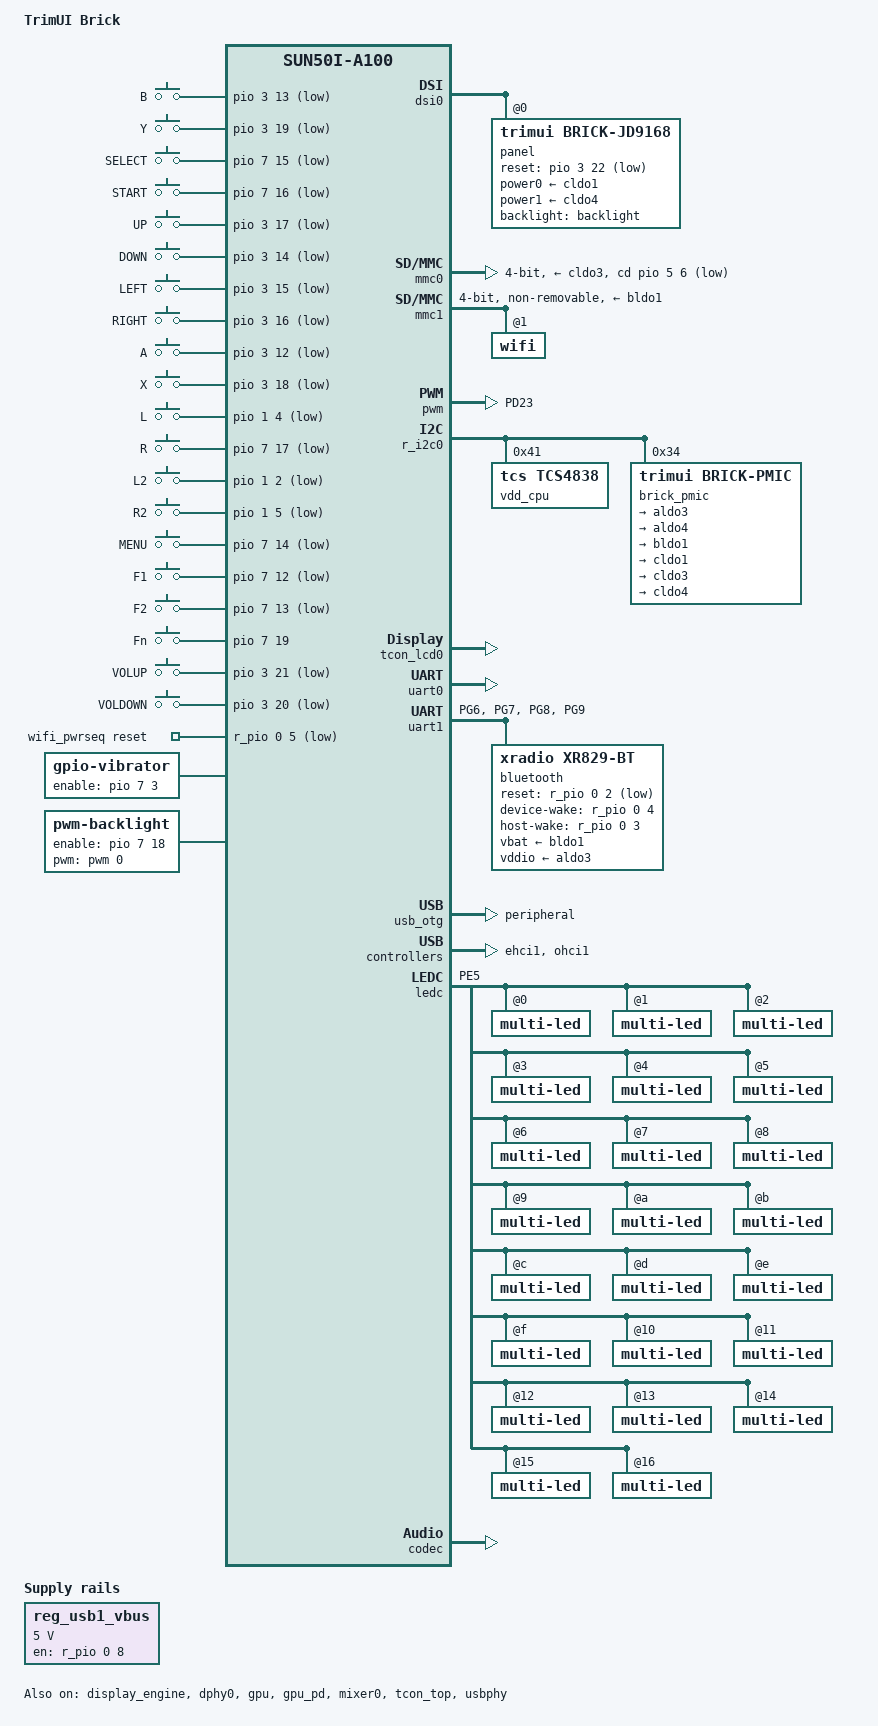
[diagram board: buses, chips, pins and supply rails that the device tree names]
// SPDX-License-Identifier: (GPL-2.0+ OR MIT)
/dts-v1/;
#include "sun50i-a133.dtsi"
#include "sun50i-a133-c0-cpu-opp.dtsi"
#include <dt-bindings/gpio/gpio.h>
#include <dt-bindings/input/input.h>
#include <dt-bindings/leds/common.h>
#include <dt-bindings/thermal/thermal.h>

/ {
	model = "TrimUI Brick";
	compatible = "trimui,brick", "allwinner,sun50i-a133", "allwinner,sun50i-a100";

	aliases {
		ethernet0 = &wifi;
		serial0 = &uart0;
		serial1 = &uart1;
		mmc0 = &mmc0;
		mmc1 = &mmc1;
	};

	chosen {
		stdout-path = "serial0:115200n8";
	};

	reg_usb1_vbus: regulator-usb1-vbus {
		compatible = "regulator-fixed";
		regulator-name = "usb1-vbus";
		regulator-min-microvolt = <5000000>;
		regulator-max-microvolt = <5000000>;
		gpio = <&r_pio 0 8 GPIO_ACTIVE_HIGH>; /* PL8 */
		enable-active-high;
		startup-delay-us = <1000>;
	};

	gamepad {
		compatible = "gpio-keys";
		label = "TrimUI Brick Gamepad";

		button-b {
			label = "B";
			linux,code = <BTN_SOUTH>;
			gpios = <&pio 3 13 (GPIO_ACTIVE_LOW | GPIO_PULL_UP)>;
		};

		button-y {
			label = "Y";
			linux,code = <BTN_WEST>;
			gpios = <&pio 3 19 (GPIO_ACTIVE_LOW | GPIO_PULL_UP)>;
		};

		button-select {
			label = "SELECT";
			linux,code = <BTN_SELECT>;
			gpios = <&pio 7 15 (GPIO_ACTIVE_LOW | GPIO_PULL_UP)>;
		};

		button-start {
			label = "START";
			linux,code = <BTN_START>;
			gpios = <&pio 7 16 (GPIO_ACTIVE_LOW | GPIO_PULL_UP)>;
		};

		button-up {
			label = "UP";
			linux,code = <BTN_DPAD_UP>;
			gpios = <&pio 3 17 (GPIO_ACTIVE_LOW | GPIO_PULL_UP)>;
		};

		button-down {
			label = "DOWN";
			linux,code = <BTN_DPAD_DOWN>;
			gpios = <&pio 3 14 (GPIO_ACTIVE_LOW | GPIO_PULL_UP)>;
		};

		button-left {
			label = "LEFT";
			linux,code = <BTN_DPAD_LEFT>;
			gpios = <&pio 3 15 (GPIO_ACTIVE_LOW | GPIO_PULL_UP)>;
		};

		button-right {
			label = "RIGHT";
			linux,code = <BTN_DPAD_RIGHT>;
			gpios = <&pio 3 16 (GPIO_ACTIVE_LOW | GPIO_PULL_UP)>;
		};

		button-a {
			label = "A";
			linux,code = <BTN_EAST>;
			gpios = <&pio 3 12 (GPIO_ACTIVE_LOW | GPIO_PULL_UP)>;
		};

		button-x {
			label = "X";
			linux,code = <BTN_NORTH>;
			gpios = <&pio 3 18 (GPIO_ACTIVE_LOW | GPIO_PULL_UP)>;
		};

		button-l {
			label = "L";
			linux,code = <BTN_TL>;
			gpios = <&pio 1 4 (GPIO_ACTIVE_LOW | GPIO_PULL_UP)>;
		};

		button-r {
			label = "R";
			linux,code = <BTN_TR>;
			gpios = <&pio 7 17 (GPIO_ACTIVE_LOW | GPIO_PULL_UP)>;
		};

		button-l2 {
			label = "L2";
			linux,code = <BTN_TL2>;
			gpios = <&pio 1 2 (GPIO_ACTIVE_LOW | GPIO_PULL_UP)>;
		};

		button-r2 {
			label = "R2";
			linux,code = <BTN_TR2>;
			gpios = <&pio 1 5 (GPIO_ACTIVE_LOW | GPIO_PULL_UP)>;
		};

		button-menu {
			label = "MENU";
			linux,code = <BTN_MODE>;
			gpios = <&pio 7 14 (GPIO_ACTIVE_LOW | GPIO_PULL_UP)>;
		};

		button-f1 {
			label = "F1";
			linux,code = <BTN_TRIGGER_HAPPY1>;
			gpios = <&pio 7 12 (GPIO_ACTIVE_LOW | GPIO_PULL_UP)>;
		};

		button-f2 {
			label = "F2";
			linux,code = <BTN_TRIGGER_HAPPY2>;
			gpios = <&pio 7 13 (GPIO_ACTIVE_LOW | GPIO_PULL_UP)>;
		};
	};

	fn-switch {
		compatible = "gpio-keys";
		label = "TrimUI Brick Fn";
		pinctrl-names = "default";
		pinctrl-0 = <&fn_switch_pin>;

		button-fn {
			label = "Fn";
			linux,code = <KEY_FN>;
			gpios = <&pio 7 19 GPIO_ACTIVE_HIGH>;
			debounce-interval = <5>;
		};
	};

	volume-keys {
		compatible = "gpio-keys";
		autorepeat;
		label = "TrimUI Brick Volume";

		button-volup {
			label = "VOLUP";
			linux,code = <KEY_VOLUMEUP>;
			gpios = <&pio 3 21 (GPIO_ACTIVE_LOW | GPIO_PULL_UP)>;
		};

		button-voldown {
			label = "VOLDOWN";
			linux,code = <KEY_VOLUMEDOWN>;
			gpios = <&pio 3 20 (GPIO_ACTIVE_LOW | GPIO_PULL_UP)>;
		};
	};

	wifi_pwrseq: wifi-pwrseq {
		compatible = "trimui,brick-radio-pwrseq";
		clocks = <&rtc 0>, <&rtc 1>;
		clock-names = "lpo", "ref";
		reset-gpios = <&r_pio 0 5 GPIO_ACTIVE_LOW>;
	};

	vibrator {
		compatible = "gpio-vibrator";
		enable-gpios = <&pio 7 3 GPIO_ACTIVE_HIGH>;
	};

	backlight: backlight {
		compatible = "pwm-backlight";
		pwms = <&pwm 0 20000 0>;
		enable-gpios = <&pio 7 18 GPIO_ACTIVE_HIGH>;
		/* Stock raw brightness: nonzero values use (value + 1) / 256. */
		brightness-levels = <
			0 2 3 4 5 6 7 8 9 10 11 12 13 14 15 16
			17 18 19 20 21 22 23 24 25 26 27 28 29 30 31 32
			33 34 35 36 37 38 39 40 41 42 43 44 45 46 47 48
			49 50 51 52 53 54 55 56 57 58 59 60 61 62 63 64
			65 66 67 68 69 70 71 72 73 74 75 76 77 78 79 80
			81 82 83 84 85 86 87 88 89 90 91 92 93 94 95 96
			97 98 99 100 101 102 103 104 105 106 107 108 109 110 111 112
			113 114 115 116 117 118 119 120 121 122 123 124 125 126 127 128
			129 130 131 132 133 134 135 136 137 138 139 140 141 142 143 144
			145 146 147 148 149 150 151 152 153 154 155 156 157 158 159 160
			161 162 163 164 165 166 167 168 169 170 171 172 173 174 175 176
			177 178 179 180 181 182 183 184 185 186 187 188 189 190 191 192
			193 194 195 196 197 198 199 200 201 202 203 204 205 206 207 208
			209 210 211 212 213 214 215 216 217 218 219 220 221 222 223 224
			225 226 227 228 229 230 231 232 233 234 235 236 237 238 239 240
			241 242 243 244 245 246 247 248 249 250 251 252 253 254 255 255
			256
		>;
		max-brightness = <255>;
		default-brightness-level = <4>;
	};


};

&display_engine {
	status = "okay";
};

&dphy0 {
	assigned-clocks = <&ccu CLK_MIPI_DSI>;
	assigned-clock-parents = <&ccu CLK_PLL_PERIPH0>;
	assigned-clock-rates = <150000000>;
	status = "okay";
};

&dsi0 {
	/* Analogue supply remains boot-established; its physical rail is unknown. */
	status = "okay";

	panel@0 {
		compatible = "trimui,brick-jd9168";
		reg = <0>;
		dsi-lanes = <4>;
		reset-gpios = <&pio 3 22 GPIO_ACTIVE_LOW>;
		backlight = <&backlight>;
		power0-supply = <&cldo1>;
		power1-supply = <&cldo4>;
		pinctrl-names = "active", "sleep";
		pinctrl-0 = <&dsi_active_pins>;
		pinctrl-1 = <&dsi_sleep_pins>;

		display-timings {
			native-mode = <&panel_timing>;
			panel_timing: timing0 {
				clock-frequency = <51000000>;
				hactive = <1024>;
				vactive = <768>;
				hfront-porch = <36>;
				hback-porch = <16>;
				hsync-len = <4>;
				vfront-porch = <7>;
				vback-porch = <5>;
				vsync-len = <4>;
			};
		};
	};
};

&gpu {
	status = "okay";
};

&gpu_pd {
	status = "okay";
};

&mixer0 {
	assigned-clocks = <&ccu CLK_DE>;
	assigned-clock-parents = <&ccu CLK_PLL_PERIPH0_2X>;
	assigned-clock-rates = <300000000>;
	status = "okay";
};

&mmc0 {
	compatible = "allwinner,sun50i-a133-mmc";
	vmmc-supply = <&cldo3>;
	vqmmc-supply = <&pf_vqmmc>;
	bus-width = <4>;
	cd-gpios = <&pio 5 6 (GPIO_ACTIVE_LOW | GPIO_PULL_UP)>;
	cd-debounce-delay-ms = <200>;
	no-mmc;
	no-sdio;
	max-frequency = <150000000>;
	sd-uhs-sdr50;
	sd-uhs-ddr50;
	sd-uhs-sdr104;
	status = "okay";
};

&mmc1 {
	vmmc-supply = <&bldo1>;
	vqmmc-supply = <&aldo3>;
	mmc-pwrseq = <&wifi_pwrseq>;
	bus-width = <4>;
	non-removable;
	cap-sdio-irq;
	no-mmc;
	no-sd;
	no-1-8-v;
	max-frequency = <50000000>;
	status = "okay";

	wifi: wifi@1 {
		reg = <1>;
	};
};

/* Internal storage wiring; enable after board qualification. */
&mmc2 {
	vmmc-supply = <&cldo3>;
	vqmmc-supply = <&cldo1>;
	pinctrl-0 = <&brick_emmc_pins &brick_emmc_ds_pin>;
	bus-width = <8>;
	max-frequency = <50000000>;
	cap-mmc-highspeed;
	mmc-ddr-1_8v;
	non-removable;
	no-sd;
	no-sdio;
	status = "disabled";
};

&pio {
	vcc-pc-supply = <&cldo1>;

	brick_emmc_pins: emmc-pins {
		pins = "PC1", "PC5", "PC6", "PC8", "PC9", "PC10",
		       "PC11", "PC13", "PC14", "PC15", "PC16";
		function = "mmc2";
		drive-strength = <40>;
		bias-pull-up;
	};

	brick_emmc_ds_pin: emmc-ds-pin {
		pins = "PC0";
		function = "mmc2";
		drive-strength = <40>;
		bias-pull-down;
	};
};

/* Match the shipped Brick MMC bank drive setting (raw value 3). */
&mmc0_pins {
	drive-strength = <40>;
};

&mmc1_pins {
	drive-strength = <40>;
};

&pio {
	vcc-pg-supply = <&aldo3>;
	compatible = "allwinner,sun50i-a133-pinctrl";
	vcc-pf18-supply = <&cldo1>;
	vcc-pf33-supply = <&cldo3>;

	pf_vqmmc: pf-regulator {
		regulator-name = "brick-pf-vqmmc";
		regulator-min-microvolt = <1800000>;
		regulator-max-microvolt = <3300000>;
	};


	brick_bt_uart_pins: uart1-pg-pins {
		pins = "PG6", "PG7", "PG8", "PG9";
		function = "uart1";
	};

	ledc_pin: ledc-pin {
		pins = "PE5";
		function = "ledc";
	};



	dsi_active_pins: dsi-active-pins {
		pins = "PD0", "PD1", "PD2", "PD3", "PD4",
		       "PD5", "PD6", "PD7", "PD8", "PD9";
		function = "dsi0";
	};

	dsi_sleep_pins: dsi-sleep-pins {
		pins = "PD0", "PD1", "PD2", "PD3", "PD4",
		       "PD5", "PD6", "PD7", "PD8", "PD9";
		function = "io_disabled";
		bias-disable;
	};

	pwm0_pin: pwm0-pin {
		pins = "PD23";
		function = "pwm0";
	};
};

&pwm {
	pinctrl-names = "default";
	pinctrl-0 = <&pwm0_pin>;
	status = "okay";
};

&r_i2c0 {
	status = "okay";

	vdd_cpu: regulator@41 {
		compatible = "tcs,tcs4838";
		reg = <0x41>;
		regulator-name = "vdd-cpu";
		regulator-min-microvolt = <900000>;
		regulator-max-microvolt = <1257500>;
		regulator-always-on;
		tcs,runtime-voltage-selector = <0>;
	};

	brick_pmic: pmic@34 {
		compatible = "trimui,brick-pmic";
		system-power-controller;
		interrupt-parent = <&r_intc>;
		interrupts = <0 IRQ_TYPE_LEVEL_LOW>;
		reg = <0x34>;

		regulators {
			aldo3: aldo3 {
				regulator-name = "brick-aldo3";
				regulator-always-on;
			};

			aldo4: aldo4 {
				regulator-name = "brick-aldo4";
				regulator-always-on;
			};

			bldo1: bldo1 {
				regulator-name = "brick-bldo1";
				regulator-always-on;
			};

			cldo1: cldo1 {
				regulator-name = "brick-panel-cldo1";
				regulator-always-on;
			};
			cldo3: cldo3 {
				regulator-name = "brick-cldo3";
				regulator-always-on;
			};
			cldo4: cldo4 {
				regulator-name = "brick-panel-cldo4";
			};
		};
	};
};

&tcon_lcd0 {
	assigned-clocks = <&ccu CLK_PLL_VIDEO0_4X>, <&ccu CLK_TCON_LCD>;
	assigned-clock-parents = <0>, <&ccu CLK_PLL_VIDEO0_4X>;
	assigned-clock-rates = <612000000>, <306000000>;
	status = "okay";
};

&tcon_top {
	status = "okay";
};

&uart0 {
	pinctrl-names = "default";
	pinctrl-0 = <&uart0_pb_pins>;
	status = "okay";
};

&uart1 {
	pinctrl-names = "default";
	pinctrl-0 = <&brick_bt_uart_pins>;
	uart-has-rtscts;
	status = "okay";

	bluetooth {
		compatible = "xradio,xr829-bt";
		clocks = <&rtc 0>, <&rtc 1>;
		clock-names = "lpo", "ref";
		vbat-supply = <&bldo1>;
		vddio-supply = <&aldo3>;
		reset-gpios = <&r_pio 0 2 GPIO_ACTIVE_LOW>;
		device-wake-gpios = <&r_pio 0 4 GPIO_ACTIVE_HIGH>;
		host-wake-gpios = <&r_pio 0 3 GPIO_ACTIVE_HIGH>;
	};
};

&usb_otg {
	compatible = "trimui,brick-musb", "allwinner,sun8i-a33-musb";
	dr_mode = "peripheral";
	status = "okay";
};

&ehci1 {
	status = "okay";
};

&ohci1 {
	status = "okay";
};

/* Bottom-port OHCI also holds the stock auxiliary OHCI1 clocks/reset. */
&ohci0 {
	compatible = "trimui,brick-ohci", "generic-ohci";
	clocks = <&ccu CLK_BUS_OHCI0>, <&ccu CLK_USB_OHCI0>,
		 <&ccu CLK_BUS_OHCI1>, <&ccu CLK_USB_OHCI1>;
	clock-names = "bus", "mod", "aux-bus", "aux-mod";
	resets = <&ccu RST_BUS_OHCI0>, <&ccu RST_BUS_OHCI1>;
	status = "disabled";
};

&usbphy {
	usb1_vbus-supply = <&reg_usb1_vbus>;
	compatible = "trimui,brick-usb-phy", "allwinner,sun20i-d1-usb-phy";
	clocks = <&ccu CLK_USB_PHY0>, <&ccu CLK_USB_PHY1>, <&ccu CLK_BUS_EHCI1>;
	clock-names = "usb0_phy", "usb1_phy", "pmu1_clk";
	resets = <&ccu RST_USB_PHY0>, <&ccu RST_USB_PHY1>, <&ccu RST_BUS_EHCI1>;
	reset-names = "usb0_reset", "usb1_reset", "usb1_bus_reset";
	status = "okay";
};

&ledc {
	assigned-clocks = <&ccu CLK_LEDC>;
	assigned-clock-rates = <24000000>;
	pinctrl-names = "default";
	pinctrl-0 = <&ledc_pin>;
	/* Small transfers use PIO; the A133 DMA controller is not validated. */
	/delete-property/ dmas;
	/delete-property/ dma-names;
	allwinner,pixel-format = "rgb";
	allwinner,t0h-ns = <400>;
	allwinner,t0l-ns = <850>;
	allwinner,t1h-ns = <800>;
	allwinner,t1l-ns = <450>;
	allwinner,treset-ns = <300000>;
	status = "okay";

	multi-led@0 {
		reg = <0>;
		color = <LED_COLOR_ID_RGB>;
		function = LED_FUNCTION_INDICATOR;
		function-enumerator = <0>;
	};

	multi-led@1 {
		reg = <1>;
		color = <LED_COLOR_ID_RGB>;
		function = LED_FUNCTION_INDICATOR;
		function-enumerator = <1>;
	};

	multi-led@2 {
		reg = <2>;
		color = <LED_COLOR_ID_RGB>;
		function = LED_FUNCTION_INDICATOR;
		function-enumerator = <2>;
	};

	multi-led@3 {
		reg = <3>;
		color = <LED_COLOR_ID_RGB>;
		function = LED_FUNCTION_INDICATOR;
		function-enumerator = <3>;
	};

	multi-led@4 {
		reg = <4>;
		color = <LED_COLOR_ID_RGB>;
		function = LED_FUNCTION_INDICATOR;
		function-enumerator = <4>;
	};

	multi-led@5 {
		reg = <5>;
		color = <LED_COLOR_ID_RGB>;
		function = LED_FUNCTION_INDICATOR;
		function-enumerator = <5>;
	};

	multi-led@6 {
		reg = <6>;
		color = <LED_COLOR_ID_RGB>;
		function = LED_FUNCTION_INDICATOR;
		function-enumerator = <6>;
	};

	multi-led@7 {
		reg = <7>;
		color = <LED_COLOR_ID_RGB>;
		function = LED_FUNCTION_INDICATOR;
		function-enumerator = <7>;
	};

	multi-led@8 {
		reg = <8>;
		color = <LED_COLOR_ID_RGB>;
		function = LED_FUNCTION_INDICATOR;
		function-enumerator = <8>;
	};

	multi-led@9 {
		reg = <9>;
		color = <LED_COLOR_ID_RGB>;
		function = LED_FUNCTION_INDICATOR;
		function-enumerator = <9>;
	};

	multi-led@a {
		reg = <10>;
		color = <LED_COLOR_ID_RGB>;
		function = LED_FUNCTION_INDICATOR;
		function-enumerator = <10>;
	};

	multi-led@b {
		reg = <11>;
		color = <LED_COLOR_ID_RGB>;
		function = LED_FUNCTION_INDICATOR;
		function-enumerator = <11>;
	};

	multi-led@c {
		reg = <12>;
		color = <LED_COLOR_ID_RGB>;
		function = LED_FUNCTION_INDICATOR;
		function-enumerator = <12>;
	};

	multi-led@d {
		reg = <13>;
		color = <LED_COLOR_ID_RGB>;
		function = LED_FUNCTION_INDICATOR;
		function-enumerator = <13>;
	};

	multi-led@e {
		reg = <14>;
		color = <LED_COLOR_ID_RGB>;
		function = LED_FUNCTION_INDICATOR;
		function-enumerator = <14>;
	};

	multi-led@f {
		reg = <15>;
		color = <LED_COLOR_ID_RGB>;
		function = LED_FUNCTION_INDICATOR;
		function-enumerator = <15>;
	};

	multi-led@10 {
		reg = <16>;
		color = <LED_COLOR_ID_RGB>;
		function = LED_FUNCTION_INDICATOR;
		function-enumerator = <16>;
	};

	multi-led@11 {
		reg = <17>;
		color = <LED_COLOR_ID_RGB>;
		function = LED_FUNCTION_INDICATOR;
		function-enumerator = <17>;
	};

	multi-led@12 {
		reg = <18>;
		color = <LED_COLOR_ID_RGB>;
		function = LED_FUNCTION_INDICATOR;
		function-enumerator = <18>;
	};

	multi-led@13 {
		reg = <19>;
		color = <LED_COLOR_ID_RGB>;
		function = LED_FUNCTION_INDICATOR;
		function-enumerator = <19>;
	};

	multi-led@14 {
		reg = <20>;
		color = <LED_COLOR_ID_RGB>;
		function = LED_FUNCTION_INDICATOR;
		function-enumerator = <20>;
	};

	multi-led@15 {
		reg = <21>;
		color = <LED_COLOR_ID_RGB>;
		function = LED_FUNCTION_INDICATOR;
		function-enumerator = <21>;
	};

	multi-led@16 {
		reg = <22>;
		color = <LED_COLOR_ID_RGB>;
		function = LED_FUNCTION_INDICATOR;
		function-enumerator = <22>;
	};
};

&codec {
	avcc-supply = <&aldo4>;
	cpvin-supply = <&cldo1>;
	allwinner,pa-gpios = <&pio 7 6 GPIO_ACTIVE_HIGH>; /* PH6 */
	allwinner,pa-delay-ms = <40>;
	allwinner,audio-routing = "Headphone", "HPOUTL",
				  "Headphone", "HPOUTR",
				  "Speaker", "HPOUTL",
				  "Speaker", "HPOUTR",
				  "MIC1", "Onboard Mic",
				  "MIC1", "Main Mic Bias";
	status = "okay";
};

&ccu {
	compatible = "allwinner,sun50i-a133-ccu";
};

&cpu0 {
	cpu-supply = <&vdd_cpu>;
	dynamic-power-coefficient = <190>;
};

&{/thermal-zones/cpu-thermal} {
	polling-delay-passive = <500>;
	polling-delay = <1000>;
	sustainable-power = <1200>;

	trips {
		cpu_threshold: cpu-threshold {
			temperature = <58000>;
			hysteresis = <0>;
			type = "passive";
		};

		cpu_passive: cpu-passive {
			temperature = <63000>;
			hysteresis = <0>;
			type = "passive";
		};

		cpu_critical: cpu-critical {
			temperature = <90000>;
			hysteresis = <0>;
			type = "critical";
		};
	};

	cooling-maps {
		map-cpu {
			trip = <&cpu_passive>;
			cooling-device = <&cpu0 THERMAL_NO_LIMIT THERMAL_NO_LIMIT>;
			contribution = <1024>;
		};
	};
};

&{/soc} {
	rtc: rtc@7000000 {
		compatible = "trimui,brick-rtc", "allwinner,sun50i-a133-rtc";
		#clock-cells = <1>;
		reg = <0x07000000 0x200>;
		interrupts = <GIC_SPI 108 IRQ_TYPE_LEVEL_HIGH>;
		clocks = <&r_ccu CLK_R_AHB_BUS_RTC>;
		clock-names = "bus";
		resets = <&r_ccu RST_R_AHB_BUS_RTC>;
		reset-names = "bus";
	};
};

&pio {
	fn_switch_pin: fn-switch-pin {
		pins = "PH19";
		function = "gpio_in";
		bias-disable;
	};
};

&{/thermal-zones/gpu-thermal} {
	polling-delay-passive = <500>;
	polling-delay = <1000>;
	sustainable-power = <1100>;
};
